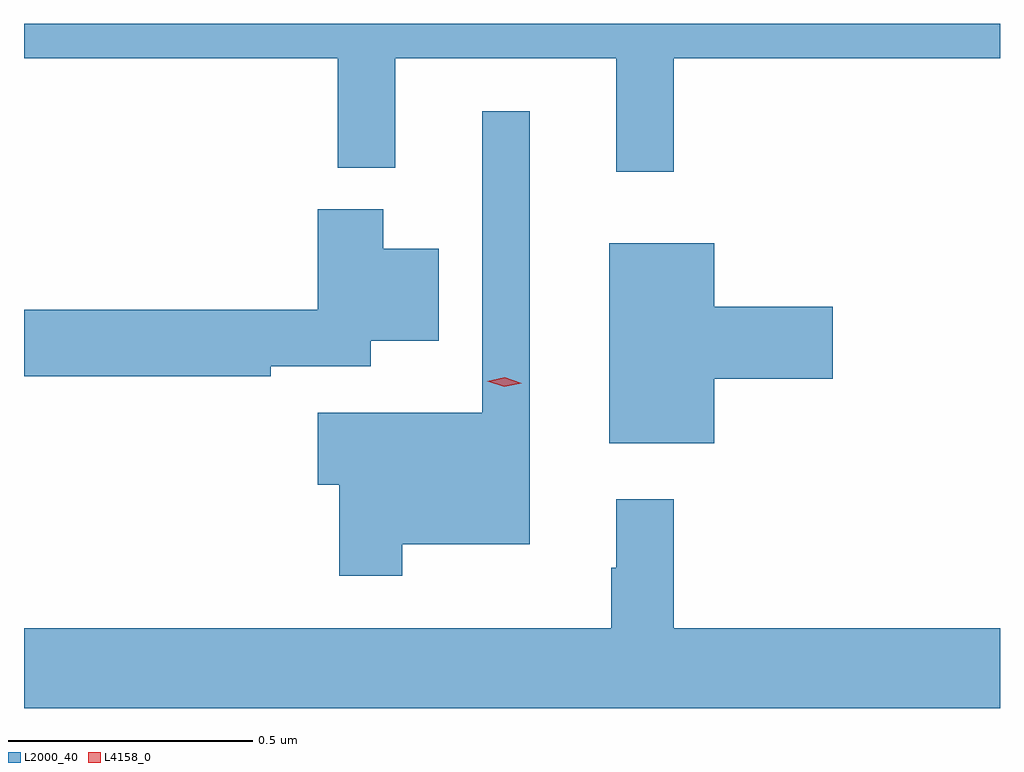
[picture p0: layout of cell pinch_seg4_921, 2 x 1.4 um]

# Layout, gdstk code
import gdstk
lib = gdstk.Library(unit=1e-6, precision=1e-09)
def P(c, l, *ps):  # polygons
    for p in ps: c.add(gdstk.Polygon(p, *l))
L2000_40 = (2000, 40)
L4158_0 = (4158, 0)

pinch_seg4_921 = lib.new_cell('pinch_seg4_921')
P(pinch_seg4_921, L2000_40, [(719.963,827.456),(720.632,827.456),(720.632,827.526),(718.632,827.526),(718.632,827.456),(719.275,827.456),(719.275,827.231),(719.393,827.231),(719.393,827.456),(719.846,827.456),(719.846,827.223),(719.963,827.223)],
  [(719.407,826.46),(719.668,826.46),(719.668,827.347),(719.571,827.347),(719.571,826.729),(719.234,826.729),(719.234,826.582),(719.278,826.582),(719.278,826.395),(719.407,826.395)],
  [(719.138,826.824),(719.343,826.824),(719.343,826.877),(719.482,826.877),(719.482,827.065),(719.368,827.065),(719.368,827.146),(719.234,827.146),(719.234,826.94),(718.632,826.94),(718.632,826.804),(719.138,826.804)],
  [(720.046,826.799),(720.289,826.799),(720.289,826.946),(720.046,826.946),(720.046,827.077),(719.831,827.077),(719.831,826.667),(720.046,826.667)],
  [(720.632,826.288),(719.963,826.288),(719.963,826.552),(719.846,826.552),(719.846,826.412),(719.835,826.412),(719.835,826.288),(718.632,826.288),(718.632,826.124),(720.632,826.124)])
P(pinch_seg4_921, L4158_0, [(719.616,826.782),(719.581,826.794),(719.581,826.794),(719.581,826.794),(719.617,826.802),(719.652,826.79),(719.652,826.79),(719.652,826.79)])

lib.write_gds('pinch_seg4_921.gds')
